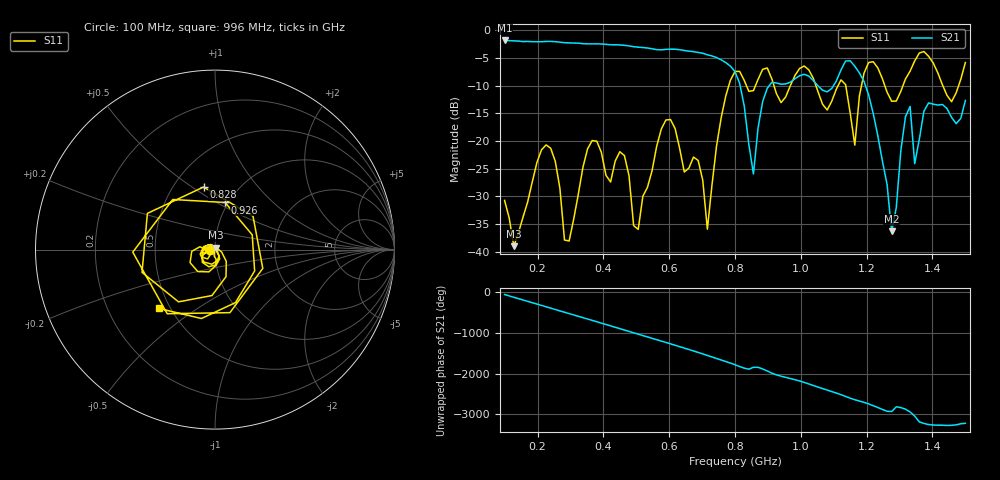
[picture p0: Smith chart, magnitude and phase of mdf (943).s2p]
! NanoVNA-App
! Date: 2025-09-25 15:45:45
! Start: 100MHz Stop: 1,5GHz Points: 101
! S-Parameter data: F S11 S21 S12 S22
# Hz S RI R 50
!  Frequency  S11_Real  S11_Imag  S21_Real  S21_Imag  S12_Real  S12_Imag  S22_Real  S22_Imag
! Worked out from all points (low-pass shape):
!   101 points, 100 MHz to 1.5 GHz, reference 50 ohm
!   highest |S21| = -1.80 dB at 100 MHz (marker M1); lowest = -36.3 dB at 1.276 GHz (marker M2)
!   |S21| within 3 dB of the highest: start of sweep to 739.4 MHz
!   lowest |S11| = -39.0 dB at 128 MHz (marker M3), VSWR 1.02, Z = 50.3 + j1.08 ohm
!   |S11| at or under -10 dB: start of sweep to 781 MHz; 1.046 GHz to 1.113 GHz (66.95 MHz wide, 6.2 % of centre); 1.255 GHz to 1.31 GHz (54.85 MHz wide, 4.28 % of centre) (the widest 3 of 7)
!   S12 and S22 are empty: the file has one direction only
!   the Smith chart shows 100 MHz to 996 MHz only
!   S11 on the Smith chart (normalised r, x): 100 MHz: 0.94, -0.01; 828 MHz: 0.70, +0.56; 926 MHz: 0.97, +0.55; 996 MHz: 0.43, -0.36
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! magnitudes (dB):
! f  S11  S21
! 100 MHz  -30.7  -1.8
! 128 MHz  -39.0  -1.9
! 212 MHz  -21.6  -2.0
! 282 MHz  -37.9  -2.2
! 338 MHz  -24.7  -2.4
! 464 MHz  -22.6  -2.7
! 506 MHz  -35.9  -3.0
! 576 MHz  -17.8  -3.5
! 688 MHz  -23.5  -4.0
! 716 MHz  -35.9  -4.4
! 800 MHz  -7.4  -7.4
! 828 MHz  -9.0  -13.6
! 856 MHz  -10.9  -25.9
! 926 MHz  -11.4  -9.5
! 996 MHz  -6.9  -8.2
! 1.038 GHz  -8.6  -9.1
! 1.164 GHz  -20.7  -6.5
! 1.192 GHz  -7.7  -9.2
! 1.276 GHz  -12.8  -36.3
! 1.332 GHz  -7.4  -13.7
! 1.346 GHz  -5.5  -24.1
! 1.5 GHz  -5.8  -12.7
